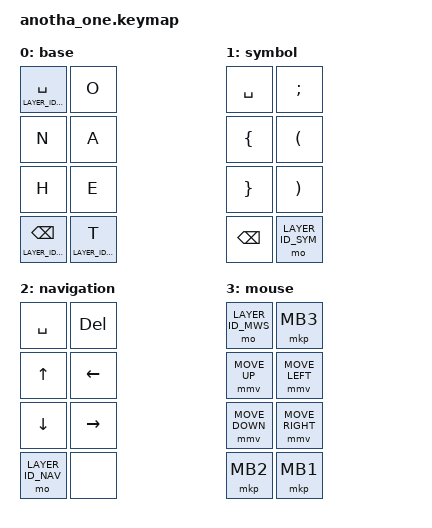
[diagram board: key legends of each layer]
/*
 * Copyright (c) 2022 The ZMK Contributors
 *
 * SPDX-License-Identifier: MIT
 */

#include <behaviors.dtsi>
#include <dt-bindings/zmk/keys.h>
#include <dt-bindings/zmk/bt.h>
#include <dt-bindings/zmk/pointing.h>

#define TIMEOUT_COMBO_2 150
#define TIMEOUT_COMBO_3 150
#define TIMEOUT_COMBO_4 150
#define TIMEOUT_COMBO_5 150

#define TIMEOUT_LAYER_HOLD 175
#define TIMEOUT_LAYER_LONG_HOLD 250
#define TIMEOUT_STICKY_LEADER_KEY 5000

#define QUICK_TAP_TIME 200

#define KEY_SPACE 0
#define KEY_O 1
#define KEY_N 2
#define KEY_A 3
#define KEY_H 4
#define KEY_E 5
#define KEY_BSPC 6
#define KEY_T 7

#define LAYER_ID_BASE 0
#define LAYER_ID_SYM  1
#define LAYER_ID_NAV  2
#define LAYER_ID_MWS  3

&sk {
	release-after-ms = <TIMEOUT_STICKY_LEADER_KEY>;
};

/ {
        macros {
                qu_macro: qu_macro {
                    compatible = "zmk,behavior-macro";
                    #binding-cells = <0>;
                    bindings = <&macro_tap &kp Q &kp U>;
                };
            };
        combos {
        compatible = "zmk,combos";

        // Base: 1st row
        combo_l       { layers = <LAYER_ID_BASE>; timeout-ms = <TIMEOUT_COMBO_2>; key-positions = <KEY_O KEY_N>; bindings = <&kp L>; };
        combo_r       { layers = <LAYER_ID_BASE>; timeout-ms = <TIMEOUT_COMBO_2>; key-positions = <KEY_O KEY_H>; bindings = <&kp R>; };
        // Base: 2nd row
        combo_b       { layers = <LAYER_ID_BASE>; timeout-ms = <TIMEOUT_COMBO_2>; key-positions = <KEY_O KEY_A>; bindings = <&kp B>; };
        combo_g       { layers = <LAYER_ID_BASE>; timeout-ms = <TIMEOUT_COMBO_2>; key-positions = <KEY_O KEY_E>; bindings = <&kp G>; };
        // Base: 3rd row
        combo_y       { layers = <LAYER_ID_BASE>; timeout-ms = <TIMEOUT_COMBO_2>; key-positions = <KEY_N KEY_A>; bindings = <&kp Y>; };
        combo_f       { layers = <LAYER_ID_BASE>; timeout-ms = <TIMEOUT_COMBO_2>; key-positions = <KEY_H KEY_E>; bindings = <&kp F>; };
        // Base: 4th row
        combo_x       { layers = <LAYER_ID_BASE>; timeout-ms = <TIMEOUT_COMBO_3>; key-positions = <KEY_O KEY_N KEY_A>; bindings = <&kp X>; };
        combo_q       { layers = <LAYER_ID_BASE>; timeout-ms = <TIMEOUT_COMBO_3>; key-positions = <KEY_O KEY_H KEY_E>; bindings = <&kp Q>; };
        // Base: 5th row
        combo_comma   { layers = <LAYER_ID_BASE>; timeout-ms = <TIMEOUT_COMBO_3>; key-positions = <KEY_H KEY_A>; bindings = <&kp COMMA>; };
        combo_period  { layers = <LAYER_ID_BASE>; timeout-ms = <TIMEOUT_COMBO_3>; key-positions = <KEY_N KEY_E>; bindings = <&kp PERIOD>; };

        // T: 1st row
        combo_m       { layers = <LAYER_ID_BASE>; timeout-ms = <TIMEOUT_COMBO_3>; key-positions = <KEY_O KEY_N KEY_T>; bindings = <&kp M>; };
        combo_u       { layers = <LAYER_ID_BASE>; timeout-ms = <TIMEOUT_COMBO_2>; key-positions = <KEY_A KEY_T>; bindings = <&kp U>; };
        combo_w       { layers = <LAYER_ID_BASE>; timeout-ms = <TIMEOUT_COMBO_3>; key-positions = <KEY_O KEY_H KEY_T>; bindings = <&kp W>; };
        combo_i       { layers = <LAYER_ID_BASE>; timeout-ms = <TIMEOUT_COMBO_2>; key-positions = <KEY_E KEY_T>; bindings = <&kp I>; };
        // T: 2nd row
        combo_p       { layers = <LAYER_ID_BASE>; timeout-ms = <TIMEOUT_COMBO_3>; key-positions = <KEY_O KEY_A KEY_T>; bindings = <&kp P>; };
        combo_d       { layers = <LAYER_ID_BASE>; timeout-ms = <TIMEOUT_COMBO_2>; key-positions = <KEY_N KEY_T>; bindings = <&kp D>; };
        combo_k       { layers = <LAYER_ID_BASE>; timeout-ms = <TIMEOUT_COMBO_3>; key-positions = <KEY_O KEY_E KEY_T>; bindings = <&kp K>; };
        combo_c       { layers = <LAYER_ID_BASE>; timeout-ms = <TIMEOUT_COMBO_2>; key-positions = <KEY_H KEY_T>; bindings = <&kp C>; };
        // T: 3rd row
        combo_s       { layers = <LAYER_ID_BASE>; timeout-ms = <TIMEOUT_COMBO_2>; key-positions = <KEY_O KEY_T>; bindings = <&kp S>; };
        combo_j       { layers = <LAYER_ID_BASE>; timeout-ms = <TIMEOUT_COMBO_3>; key-positions = <KEY_N KEY_A KEY_T>; bindings = <&kp J>; };
        combo_v       { layers = <LAYER_ID_BASE>; timeout-ms = <TIMEOUT_COMBO_3>; key-positions = <KEY_H KEY_E KEY_T>; bindings = <&kp V>; };
        // T: 4th row
        combo_z       { layers = <LAYER_ID_BASE>; timeout-ms = <TIMEOUT_COMBO_4>; key-positions = <KEY_O KEY_N KEY_A KEY_T>; bindings = <&kp Z>; };
        combo_under   { layers = <LAYER_ID_BASE>; timeout-ms = <TIMEOUT_COMBO_4>; key-positions = <KEY_O KEY_H KEY_E KEY_T>; bindings = <&kp UNDER>; };
        // T: 5th row
        combo_grave   { layers = <LAYER_ID_BASE>; timeout-ms = <TIMEOUT_COMBO_3>; key-positions = <KEY_H KEY_A KEY_T>; bindings = <&kp GRAVE>; };
        combo_qmark   { layers = <LAYER_ID_BASE>; timeout-ms = <TIMEOUT_COMBO_3>; key-positions = <KEY_N KEY_E KEY_T>; bindings = <&kp QMARK>; };

        // Symbol: 1st row
        combo_squote  { layers = <LAYER_ID_SYM>; timeout-ms = <TIMEOUT_COMBO_2>; key-positions = <KEY_O KEY_N>; bindings = <&kp SQT>; };
        combo_dquote  { layers = <LAYER_ID_SYM>; timeout-ms = <TIMEOUT_COMBO_2>; key-positions = <KEY_O KEY_H>; bindings = <&kp DQT>; };
        // Symbol: 2nd row
        combo_amps    { layers = <LAYER_ID_SYM>; timeout-ms = <TIMEOUT_COMBO_2>; key-positions = <KEY_O KEY_A>; bindings = <&kp AMPS>; };
        combo_dollar  { layers = <LAYER_ID_SYM>; timeout-ms = <TIMEOUT_COMBO_2>; key-positions = <KEY_O KEY_E>; bindings = <&kp DOLLAR>; };
        // Symbol: 3rd row
        combo_lbkt    { layers = <LAYER_ID_SYM>; timeout-ms = <TIMEOUT_COMBO_2>; key-positions = <KEY_N KEY_A>; bindings = <&kp LBKT>; };
        combo_rbkt    { layers = <LAYER_ID_SYM>; timeout-ms = <TIMEOUT_COMBO_2>; key-positions = <KEY_H KEY_E>; bindings = <&kp RBKT>; };
        // Symbol: 4th row
        combo_bslh    { layers = <LAYER_ID_SYM>; timeout-ms = <TIMEOUT_COMBO_3>; key-positions = <KEY_O KEY_N KEY_A>; bindings = <&kp BSLH>; };
        combo_colon   { layers = <LAYER_ID_SYM>; timeout-ms = <TIMEOUT_COMBO_3>; key-positions = <KEY_O KEY_H KEY_E>; bindings = <&kp COLON>; };
        // Symbol: 5th row
        combo_lt      { layers = <LAYER_ID_SYM>; timeout-ms = <TIMEOUT_COMBO_3>; key-positions = <KEY_H KEY_A>; bindings = <&kp LT>; };
        combo_gt      { layers = <LAYER_ID_SYM>; timeout-ms = <TIMEOUT_COMBO_3>; key-positions = <KEY_N KEY_E>; bindings = <&kp GT>; };

        // Backspace: 1st row
        combo_n5      { layers = <LAYER_ID_BASE>; timeout-ms = <TIMEOUT_COMBO_3>; key-positions = <KEY_O KEY_N KEY_BSPC>; bindings = <&kp N5>; };
        combo_n3      { layers = <LAYER_ID_BASE>; timeout-ms = <TIMEOUT_COMBO_2>; key-positions = <KEY_A KEY_BSPC>; bindings = <&kp N3>; };
        combo_n6      { layers = <LAYER_ID_BASE>; timeout-ms = <TIMEOUT_COMBO_3>; key-positions = <KEY_O KEY_H KEY_BSPC>; bindings = <&kp N6>; };
        combo_n4      { layers = <LAYER_ID_BASE>; timeout-ms = <TIMEOUT_COMBO_2>; key-positions = <KEY_E KEY_BSPC>; bindings = <&kp N4>; };
        // Backspace: 2nd row
        combo_n7      { layers = <LAYER_ID_BASE>; timeout-ms = <TIMEOUT_COMBO_3>; key-positions = <KEY_O KEY_A KEY_BSPC>; bindings = <&kp N7>; };
        combo_n1      { layers = <LAYER_ID_BASE>; timeout-ms = <TIMEOUT_COMBO_2>; key-positions = <KEY_N KEY_BSPC>; bindings = <&kp N1>; };
        combo_n8      { layers = <LAYER_ID_BASE>; timeout-ms = <TIMEOUT_COMBO_3>; key-positions = <KEY_O KEY_E KEY_BSPC>; bindings = <&kp N8>; };
        combo_n2      { layers = <LAYER_ID_BASE>; timeout-ms = <TIMEOUT_COMBO_2>; key-positions = <KEY_H KEY_BSPC>; bindings = <&kp N2>; };
        // Backspace: 3rd row
        combo_minus   { layers = <LAYER_ID_BASE>; timeout-ms = <TIMEOUT_COMBO_2>; key-positions = <KEY_O KEY_BSPC>; bindings = <&kp MINUS>; };
        combo_n9      { layers = <LAYER_ID_BASE>; timeout-ms = <TIMEOUT_COMBO_3>; key-positions = <KEY_N KEY_A KEY_BSPC>; bindings = <&kp N9>; };
        combo_n0      { layers = <LAYER_ID_BASE>; timeout-ms = <TIMEOUT_COMBO_3>; key-positions = <KEY_H KEY_E KEY_BSPC>; bindings = <&kp N0>; };
        // Backspace: 4th row
        combo_equal   { layers = <LAYER_ID_BASE>; timeout-ms = <TIMEOUT_COMBO_4>; key-positions = <KEY_O KEY_N KEY_A KEY_BSPC>; bindings = <&kp EQUAL>; };
        combo_plus    { layers = <LAYER_ID_BASE>; timeout-ms = <TIMEOUT_COMBO_4>; key-positions = <KEY_O KEY_H KEY_E KEY_BSPC>; bindings = <&kp PLUS>; };
        // Backspace: 5th row
        combo_astrk   { layers = <LAYER_ID_BASE>; timeout-ms = <TIMEOUT_COMBO_3>; key-positions = <KEY_H KEY_A KEY_BSPC>; bindings = <&kp ASTRK>; };
        combo_fslh    { layers = <LAYER_ID_BASE>; timeout-ms = <TIMEOUT_COMBO_3>; key-positions = <KEY_N KEY_E KEY_BSPC>; bindings = <&kp FSLH>; };

        // Backspace + Space: 1st row
        combo_f5      { layers = <LAYER_ID_BASE>; timeout-ms = <TIMEOUT_COMBO_4>; key-positions = <KEY_SPACE KEY_O KEY_N KEY_BSPC>; bindings = <&kp F5>; };
        combo_f3      { layers = <LAYER_ID_BASE>; timeout-ms = <TIMEOUT_COMBO_3>; key-positions = <KEY_SPACE KEY_A KEY_BSPC>; bindings = <&kp F3>; };
        combo_f6      { layers = <LAYER_ID_BASE>; timeout-ms = <TIMEOUT_COMBO_4>; key-positions = <KEY_SPACE KEY_O KEY_H KEY_BSPC>; bindings = <&kp F6>; };
        combo_f4      { layers = <LAYER_ID_BASE>; timeout-ms = <TIMEOUT_COMBO_3>; key-positions = <KEY_SPACE KEY_E KEY_BSPC>; bindings = <&kp F4>; };
        // Backspace + Space: 2nd row
        combo_f7      { layers = <LAYER_ID_BASE>; timeout-ms = <TIMEOUT_COMBO_4>; key-positions = <KEY_SPACE KEY_O KEY_A KEY_BSPC>; bindings = <&kp F7>; };
        combo_f1      { layers = <LAYER_ID_BASE>; timeout-ms = <TIMEOUT_COMBO_3>; key-positions = <KEY_SPACE KEY_N KEY_BSPC>; bindings = <&kp F1>; };
        combo_f8      { layers = <LAYER_ID_BASE>; timeout-ms = <TIMEOUT_COMBO_4>; key-positions = <KEY_SPACE KEY_O KEY_E KEY_BSPC>; bindings = <&kp F8>; };
        combo_f2      { layers = <LAYER_ID_BASE>; timeout-ms = <TIMEOUT_COMBO_3>; key-positions = <KEY_SPACE KEY_H KEY_BSPC>; bindings = <&kp F2>; };
        // Backspace + Space: 3rd row
        combo_pscrn   { layers = <LAYER_ID_BASE>; timeout-ms = <TIMEOUT_COMBO_3>; key-positions = <KEY_SPACE KEY_O KEY_BSPC>; bindings = <&kp PSCRN>; };
        combo_f9      { layers = <LAYER_ID_BASE>; timeout-ms = <TIMEOUT_COMBO_4>; key-positions = <KEY_SPACE KEY_N KEY_A KEY_BSPC>; bindings = <&kp F9>; };
        combo_f10     { layers = <LAYER_ID_BASE>; timeout-ms = <TIMEOUT_COMBO_4>; key-positions = <KEY_SPACE KEY_H KEY_E KEY_BSPC>; bindings = <&kp F10>; };
        // Backspace + Space: 4th row
        combo_f11     { layers = <LAYER_ID_BASE>; timeout-ms = <TIMEOUT_COMBO_5>; key-positions = <KEY_SPACE KEY_O KEY_N KEY_A KEY_BSPC>; bindings = <&kp F11>; };
        combo_f12     { layers = <LAYER_ID_BASE>; timeout-ms = <TIMEOUT_COMBO_5>; key-positions = <KEY_SPACE KEY_O KEY_H KEY_E KEY_BSPC>; bindings = <&kp F12>; };
        // Backspace + Space: 5th row
        combo_br_up   { layers = <LAYER_ID_BASE>; timeout-ms = <TIMEOUT_COMBO_4>; key-positions = <KEY_SPACE KEY_H KEY_A KEY_BSPC>; bindings = <&kp C_BRI_UP>; };
        combo_br_dn   { layers = <LAYER_ID_BASE>; timeout-ms = <TIMEOUT_COMBO_4>; key-positions = <KEY_SPACE KEY_N KEY_E KEY_BSPC>; bindings = <&kp C_BRI_DN>; };

        // BLE: 1st row
        combo_ble_2     { layers = <LAYER_ID_BASE>; timeout-ms = <TIMEOUT_COMBO_3>; key-positions = <KEY_SPACE KEY_BSPC KEY_T KEY_A>; bindings = <&bt BT_SEL 2>; };
        combo_ble_3     { layers = <LAYER_ID_BASE>; timeout-ms = <TIMEOUT_COMBO_3>; key-positions = <KEY_SPACE KEY_BSPC KEY_T KEY_E>; bindings = <&bt BT_SEL 3>; };
        combo_ble_dc_0  { layers = <LAYER_ID_BASE>; timeout-ms = <TIMEOUT_COMBO_4>; key-positions = <KEY_SPACE KEY_BSPC KEY_T KEY_O KEY_N>; bindings = <&bt BT_DISC 0>; };
        combo_ble_dc_1  { layers = <LAYER_ID_BASE>; timeout-ms = <TIMEOUT_COMBO_4>; key-positions = <KEY_SPACE KEY_BSPC KEY_T KEY_O KEY_H>; bindings = <&bt BT_DISC 1>; };

        // BLE: 2nd row
        combo_ble_0     { layers = <LAYER_ID_BASE>; timeout-ms = <TIMEOUT_COMBO_3>; key-positions = <KEY_SPACE KEY_BSPC KEY_T KEY_N>; bindings = <&bt BT_SEL 0>; };
        combo_ble_1     { layers = <LAYER_ID_BASE>; timeout-ms = <TIMEOUT_COMBO_3>; key-positions = <KEY_SPACE KEY_BSPC KEY_T KEY_H>; bindings = <&bt BT_SEL 1>; };
        combo_ble_dc_2  { layers = <LAYER_ID_BASE>; timeout-ms = <TIMEOUT_COMBO_4>; key-positions = <KEY_SPACE KEY_BSPC KEY_T KEY_O KEY_A>; bindings = <&bt BT_SEL 2>; };
        combo_ble_dc_3  { layers = <LAYER_ID_BASE>; timeout-ms = <TIMEOUT_COMBO_4>; key-positions = <KEY_SPACE KEY_BSPC KEY_T KEY_O KEY_E>; bindings = <&bt BT_SEL 3>; };

        // BLE: 4th row
        combo_ble_clr   { layers = <LAYER_ID_BASE>; timeout-ms = <TIMEOUT_COMBO_4>; key-positions = <KEY_SPACE KEY_BSPC KEY_T KEY_O KEY_N KEY_A>; bindings = <&bt BT_CLR>; };
        combo_ble_clr_a { layers = <LAYER_ID_BASE>; timeout-ms = <TIMEOUT_COMBO_4>; key-positions = <KEY_SPACE KEY_BSPC KEY_T KEY_O KEY_H KEY_E>; bindings = <&bt BT_CLR>; };

        // Navigation: 1st row
        combo_pg_up   { layers = <LAYER_ID_NAV>; timeout-ms = <TIMEOUT_COMBO_2>; key-positions = <KEY_O KEY_N>; bindings = <&kp PG_UP>; };
        combo_pg_dn   { layers = <LAYER_ID_NAV>; timeout-ms = <TIMEOUT_COMBO_2>; key-positions = <KEY_O KEY_H>; bindings = <&kp PG_DN>; };
        // Navigation: 2nd row
        combo_home    { layers = <LAYER_ID_NAV>; timeout-ms = <TIMEOUT_COMBO_2>; key-positions = <KEY_O KEY_A>; bindings = <&kp HOME>; };
        combo_end     { layers = <LAYER_ID_NAV>; timeout-ms = <TIMEOUT_COMBO_2>; key-positions = <KEY_O KEY_E>; bindings = <&kp END>; };
        // Navigation: 3rd row
        combo_copy    { layers = <LAYER_ID_NAV>; timeout-ms = <TIMEOUT_COMBO_2>; key-positions = <KEY_N KEY_A>; bindings = <&kp C_AC_COPY>; };
        combo_paste   { layers = <LAYER_ID_NAV>; timeout-ms = <TIMEOUT_COMBO_2>; key-positions = <KEY_H KEY_E>; bindings = <&kp C_AC_PASTE>; };
        // Navigation: 4th row
        combo_volup   { layers = <LAYER_ID_NAV>; timeout-ms = <TIMEOUT_COMBO_3>; key-positions = <KEY_O KEY_N KEY_A>; bindings = <&kp C_VOL_UP>; };
        combo_voldn   { layers = <LAYER_ID_NAV>; timeout-ms = <TIMEOUT_COMBO_3>; key-positions = <KEY_O KEY_H KEY_E>; bindings = <&kp C_VOL_DN>; };
        // Navigation: 5th row
        combo_hash    { layers = <LAYER_ID_NAV>; timeout-ms = <TIMEOUT_COMBO_2>; key-positions = <KEY_H KEY_A>; bindings = <&kp HASH>; };
        combo_excl    { layers = <LAYER_ID_NAV>; timeout-ms = <TIMEOUT_COMBO_2>; key-positions = <KEY_N KEY_E>; bindings = <&kp EXCL>; };

        // Mouse: 1st row
        combo_scrl_up { layers = <LAYER_ID_MWS>; timeout-ms = <TIMEOUT_COMBO_2>; key-positions = <KEY_O KEY_N>; bindings = <&msc SCRL_UP>; };
        combo_scrl_dn { layers = <LAYER_ID_MWS>; timeout-ms = <TIMEOUT_COMBO_2>; key-positions = <KEY_O KEY_H>; bindings = <&msc SCRL_DOWN>; };
        // Mouse: 2nd row
        combo_scrl_l  { layers = <LAYER_ID_MWS>; timeout-ms = <TIMEOUT_COMBO_2>; key-positions = <KEY_O KEY_A>; bindings = <&msc SCRL_LEFT>; };
        combo_scrl_r  { layers = <LAYER_ID_MWS>; timeout-ms = <TIMEOUT_COMBO_2>; key-positions = <KEY_O KEY_E>; bindings = <&msc SCRL_RIGHT>; };
        // Mouse: 3rd row
        combo_m4      { layers = <LAYER_ID_MWS>; timeout-ms = <TIMEOUT_COMBO_2>; key-positions = <KEY_N KEY_A>; bindings = <&mkp MB4>; };
        combo_m5      { layers = <LAYER_ID_MWS>; timeout-ms = <TIMEOUT_COMBO_2>; key-positions = <KEY_H KEY_E>; bindings = <&mkp MB5>; };
        // Mouse: 4th row
        // combo_acl0    { layers = <LAYER_ID_MWS>; timeout-ms = <TIMEOUT_COMBO_3>; key-positions = <KEY_O KEY_N KEY_A>; bindings = <>; };
        // combo_acl1    { layers = <LAYER_ID_MWS>; timeout-ms = <TIMEOUT_COMBO_3>; key-positions = <KEY_O KEY_H KEY_E>; bindings = <>; };

        // Modifiers: 1st row
        combo_shift   { layers = <LAYER_ID_BASE>; timeout-ms = <TIMEOUT_COMBO_2>; key-positions = <KEY_SPACE KEY_O>; bindings = <&sk LSHFT>; };
        combo_gui     { layers = <LAYER_ID_BASE>; timeout-ms = <TIMEOUT_COMBO_2>; key-positions = <KEY_SPACE KEY_H>; bindings = <&sk LGUI>; };
        // Modifiers: 2nd row
        combo_alt     { layers = <LAYER_ID_BASE>; timeout-ms = <TIMEOUT_COMBO_3>; key-positions = <KEY_SPACE KEY_O KEY_A>; bindings = <&sk LALT>; };
        combo_ctrl    { layers = <LAYER_ID_BASE>; timeout-ms = <TIMEOUT_COMBO_3>; key-positions = <KEY_SPACE KEY_O KEY_E>; bindings = <&sk LCTRL>; };
        // Modifiers: 3rd row
        combo_insert  { layers = <LAYER_ID_BASE>; timeout-ms = <TIMEOUT_COMBO_3>; key-positions = <KEY_SPACE KEY_O KEY_H>; bindings = <&kp INSERT>; };
        combo_tab     { layers = <LAYER_ID_BASE>; timeout-ms = <TIMEOUT_COMBO_2>; key-positions = <KEY_SPACE KEY_A>; bindings = <&kp TAB>; };
        // Modifiers: 4th row
        combo_escape  { layers = <LAYER_ID_BASE>; timeout-ms = <TIMEOUT_COMBO_3>; key-positions = <KEY_SPACE KEY_N>; bindings = <&kp ESCAPE>; };
        combo_enter   { layers = <LAYER_ID_BASE>; timeout-ms = <TIMEOUT_COMBO_2>; key-positions = <KEY_SPACE KEY_E>; bindings = <&kp ENTER>; };
    };
};

/ {
    behaviors {
        // Layer on hold, key on press with quick-tap possibility
        layer_kp_qt: layer_kp_qt {
            compatible = "zmk,behavior-hold-tap";
            #binding-cells = <2>;
            tapping_term_ms = <TIMEOUT_LAYER_HOLD>;
            quick-tap-ms = <QUICK_TAP_TIME>;
            flavor = "tap-preferred";
            bindings = <&mo>, <&kp>;
        };

        // Layer on long hold, key on press with quick-tap possibility
        layer_kp_qt_long: layer_kp_qt_long {
            compatible = "zmk,behavior-hold-tap";
            #binding-cells = <2>;
            tapping_term_ms = <TIMEOUT_LAYER_LONG_HOLD>;
            quick-tap-ms = <QUICK_TAP_TIME>;
            flavor = "tap-preferred";
            bindings = <&mo>, <&kp>;
        };

        // Layer on hold, key on press
        layer_kp: layer_kp {
            compatible = "zmk,behavior-hold-tap";
            #binding-cells = <2>;
            tapping_term_ms = <TIMEOUT_LAYER_HOLD>;
            flavor = "tap-preferred";
            bindings = <&mo>, <&kp>;
        };
    };
};

/ {
    keymap {
        compatible = "zmk,keymap";

        base {
            bindings = <
                &layer_kp_qt_long LAYER_ID_MWS SPACE &kp O
                &kp N                           &kp A
                &kp H                           &kp E
                &layer_kp_qt LAYER_ID_NAV BSPC  &layer_kp LAYER_ID_SYM T
            >;
        };

        symbol {
            bindings = <
                &kp SPACE        &kp SEMI
                &kp LBRC         &kp LPAR
                &kp RBRC         &kp RPAR
                &kp BSPC         &mo LAYER_ID_SYM
            >;
        };

        navigation {
            bindings = <
                &kp SPACE        &kp DEL
                &kp UP           &kp LEFT
                &kp DOWN         &kp RIGHT
                &mo LAYER_ID_NAV &none
            >;
        };

        mouse {
            bindings = <
                &mo LAYER_ID_MWS &mkp MB3
                &mmv MOVE_UP     &mmv MOVE_LEFT
                &mmv MOVE_DOWN   &mmv MOVE_RIGHT
                &mkp MB2         &mkp MB1
            >;
        };
    };
};
